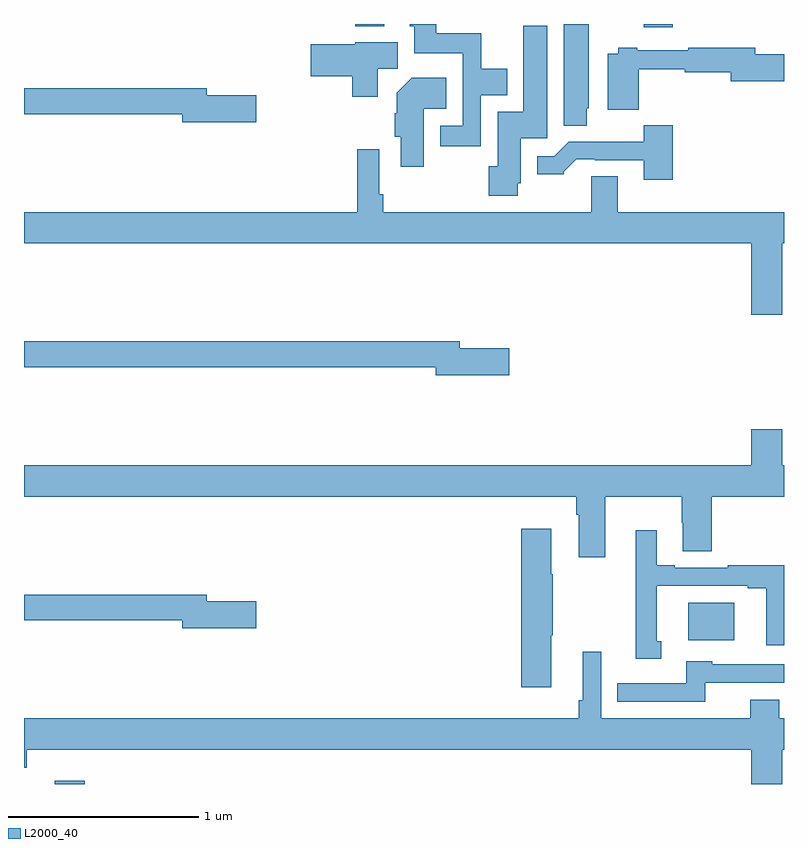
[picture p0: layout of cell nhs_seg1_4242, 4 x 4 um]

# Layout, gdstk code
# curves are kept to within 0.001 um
import gdstk
lib = gdstk.Library(unit=1e-6, precision=1e-09)
def R(c, l, rs):  # rectangles x0, y0, x1, y1
    for r in rs: c.add(gdstk.rectangle(r[:2], r[2:], *l))
def P(c, l, *ps):  # polygons
    for p in ps: c.add(gdstk.Polygon(p, *l))
L2000_40 = (2000, 40)

nhs_seg1_4242 = lib.new_cell('nhs_seg1_4242')
R(nhs_seg1_4242, L2000_40, [(341.162,570.199,341.321,570.217), (344.495,570.956,344.737,571.153), (344.261,574.182,344.414,574.199), (342.743,574.187,342.895,574.199)])
P(nhs_seg1_4242, L2000_40, [(343.404,573.824),(343.543,573.824),(343.543,573.964),(343.407,573.964),(343.407,574.15),(343.171,574.15),(343.171,574.199),(343.031,574.199),(343.031,574.188),(343.055,574.188),(343.055,574.046),(343.308,574.046),(343.308,573.663),(343.191,573.663),(343.191,573.555),(343.404,573.555)],
  [(343.963,573.756),(343.972,573.756),(343.972,574.199),(343.841,574.199),(343.841,573.664),(343.963,573.664)],
  [(343.599,573.36),(343.615,573.36),(343.615,573.597),(343.753,573.597),(343.753,574.189),(343.628,574.189),(343.628,573.736),(343.493,573.736),(343.493,573.45),(343.447,573.45),(343.447,573.294),(343.599,573.294)],
  [(342.862,573.964),(342.967,573.964),(342.967,574.102),(342.744,574.102),(342.744,574.093),(342.51,574.093),(342.51,573.923),(342.728,573.923),(342.728,573.816),(342.862,573.816)],
  [(344.236,573.961),(344.478,573.961),(344.478,573.946),(344.72,573.946),(344.72,573.899),(345,573.899),(345,574.041),(344.848,574.041),(344.848,574.075),(344.497,574.075),(344.497,574.062),(344.227,574.062),(344.227,574.075),(344.127,574.075),(344.127,574.042),(344.072,574.042),(344.072,573.749),(344.236,573.749)],
  [(343.105,573.752),(343.223,573.752),(343.223,573.916),(343.04,573.916),(342.962,573.838),(342.962,573.728),(342.95,573.728),(342.95,573.606),(342.983,573.606),(342.983,573.447),(343.105,573.447)],
  [(342.223,573.824),(341.962,573.824),(341.962,573.86),(341,573.86),(341,573.724),(341.834,573.724),(341.834,573.682),(342.223,573.682)],
  [(344.414,573.667),(344.261,573.667),(344.261,573.58),(343.866,573.579),(343.791,573.504),(343.7,573.504),(343.7,573.407),(343.842,573.407),(343.842,573.422),(343.906,573.486),(344.005,573.486),(344.005,573.483),(344.261,573.483),(344.261,573.378),(344.414,573.378)],
  [(344.992,573.044),(345,573.044),(345,573.208),(344.125,573.208),(344.125,573.398),(343.985,573.398),(343.985,573.208),(342.89,573.208),(342.89,573.304),(342.87,573.304),(342.87,573.541),(342.754,573.541),(342.754,573.208),(341,573.208),(341,573.044),(344.828,573.044),(344.828,572.67),(344.992,572.67)],
  [(343.555,572.492),(343.294,572.492),(343.294,572.528),(341,572.528),(341,572.392),(343.166,572.392),(343.166,572.35),(343.555,572.35)],
  [(344.059,571.712),(344.461,571.712),(344.461,571.574),(344.468,571.574),(344.468,571.423),(344.621,571.423),(344.621,571.712),(345,571.712),(345,571.876),(344.992,571.876),(344.992,572.065),(344.828,572.065),(344.828,571.876),(341,571.876),(341,571.712),(343.907,571.712),(343.907,571.616),(343.919,571.616),(343.919,571.392),(344.059,571.392)],
  [(343.774,570.982),(343.782,570.982),(343.782,571.304),(343.774,571.304),(343.774,571.543),(343.616,571.543),(343.616,570.708),(343.774,570.708)],
  [(344.353,570.951),(344.329,570.951),(344.329,571.242),(344.81,571.242),(344.81,571.23),(344.906,571.23),(344.906,570.93),(345,570.93),(345,571.351),(344.704,571.351),(344.704,571.338),(344.425,571.338),(344.425,571.351),(344.329,571.351),(344.329,571.534),(344.219,571.534),(344.219,571.289),(344.22,571.289),(344.22,570.857),(344.353,570.857)],
  [(342.223,571.16),(341.962,571.16),(341.962,571.196),(341,571.196),(341,571.06),(341.834,571.06),(341.834,571.018),(342.223,571.018)],
  [(344.992,570.38),(345,570.38),(345,570.544),(344.975,570.544),(344.975,570.643),(344.822,570.643),(344.822,570.544),(344.037,570.544),(344.037,570.895),(343.94,570.895),(343.94,570.64),(343.921,570.64),(343.921,570.544),(341,570.544),(341,570.284),(341.015,570.284),(341.015,570.38),(344.828,570.38),(344.828,570.199),(344.992,570.199)],
  [(344.586,570.732),(345,570.732),(345,570.828),(344.622,570.828),(344.622,570.844),(344.486,570.844),(344.486,570.729),(344.122,570.729),(344.122,570.633),(344.586,570.633)])

lib.write_gds('nhs_seg1_4242.gds')
